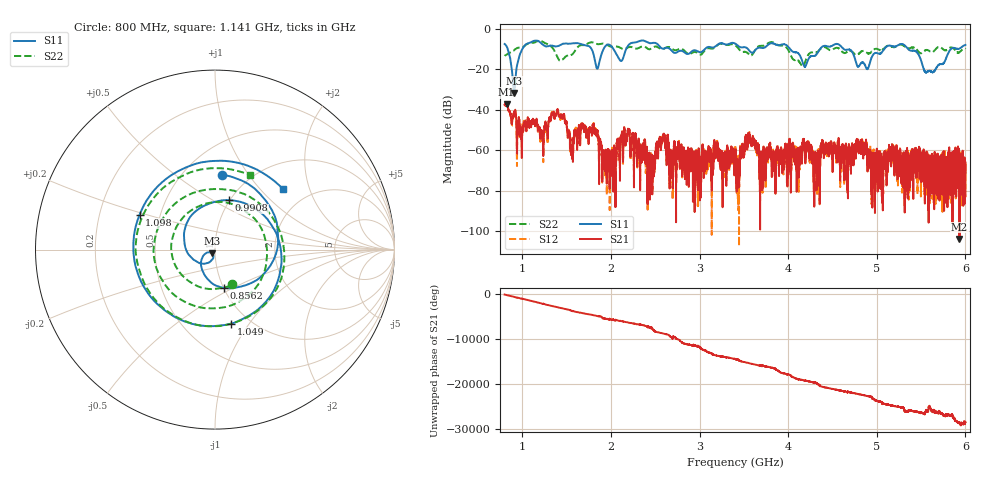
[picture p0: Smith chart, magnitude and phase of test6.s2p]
!Keysight Technologies N9923A: A.08.15
!Date: Friday, 16 February 2024 23:06:20
!Timezone: (GMT-05:00) Eastern Time (US & Canada)
!Model: N9923A
!Serial: MY52412730
!GPS Latitude:
!GPS Longitude:
!GPS TimeStamp: 0001-01-01 00:00:00Z
!GPS Seconds Since Last Read: 0
!CHECKSUM:2046778837
!Correction: S11(ON Q)S21(ON Q)S12(ON Q)S22(ON Q)
!S2P File: Measurements:S11,S21,S12,S22:
# Hz S DB R 50
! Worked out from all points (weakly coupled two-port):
!   10001 points, 800 MHz to 6 GHz, reference 50 ohm
!   highest |S21| = -37.32 dB at 822.4 MHz (marker M1); lowest = -103.9 dB at 5.933 GHz (marker M2)
!   lowest |S11| = -31.8 dB at 907.6 MHz (marker M3), VSWR 1.05, Z = 48.4 - j1.99 ohm
!   |S11| at or under -10 dB: 2.666 GHz to 3.06 GHz (393.9 MHz wide, 13.8 % of centre); 4.626 GHz to 5.086 GHz (460.1 MHz wide, 9.48 % of centre); 5.353 GHz to 5.838 GHz (485 MHz wide, 8.67 % of centre) (the widest 3 of 9)
!   |S22| runs from -18.6 to -5.9 dB; largest |S21 - S12| = 0.0014
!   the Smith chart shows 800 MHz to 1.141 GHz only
!   S11 on the Smith chart (normalised r, x): 800 MHz: 0.75, +0.76; 856.2 MHz: 1.01, -0.45; 990.8 MHz: 0.99, +0.60; 1.049 GHz: 0.82, -0.82; 1.098 GHz: 0.38, +0.19; 1.141 GHz: 1.48, +1.35
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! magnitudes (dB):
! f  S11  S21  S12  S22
! 800 MHz  -7.6  -37.7  -37.6  -13.4
! 822.4 MHz  -8.7  -37.3  -37.2  -12.8
! 856.2 MHz  -13.2  -40.7  -41.1  -11.9
! 907.6 MHz  -31.8  -42.8  -43.3  -10.6
! 990.8 MHz  -10.9  -53.2  -52.1  -9.4
! 1.049 GHz  -7.5  -48.4  -48.7  -7.7
! 1.098 GHz  -6.7  -48.4  -47.6  -7.1
! 1.141 GHz  -5.9  -46.7  -46.1  -6.8
! 1.667 GHz  -7.7  -47.2  -47.8  -8.1
! 1.846 GHz  -19.8  -50.5  -51.2  -7.6
! 2.003 GHz  -8.5  -69.6  -67.8  -8.9
! 2.187 GHz  -8.8  -51.8  -51.9  -9.4
! 2.436 GHz  -7.1  -63.5  -66.3  -10.2
! 2.534 GHz  -8.0  -60.3  -60.2  -9.3
! 3.4 GHz  -7.3  -60.8  -61.3  -8.0
! 3.571 GHz  -11.3  -53.5  -53.6  -13.1
! 3.697 GHz  -9.4  -63.3  -65.3  -8.4
! 4.267 GHz  -13.4  -62.7  -59.6  -11.7
! 5.134 GHz  -8.3  -62.4  -62.0  -8.3
! 5.564 GHz  -21.4  -64.9  -64.0  -10.5
! 5.933 GHz  -9.8  -103.9  -63.9  -11.6
! 6 GHz  -8.0  -71.2  -66.1  -10.2
